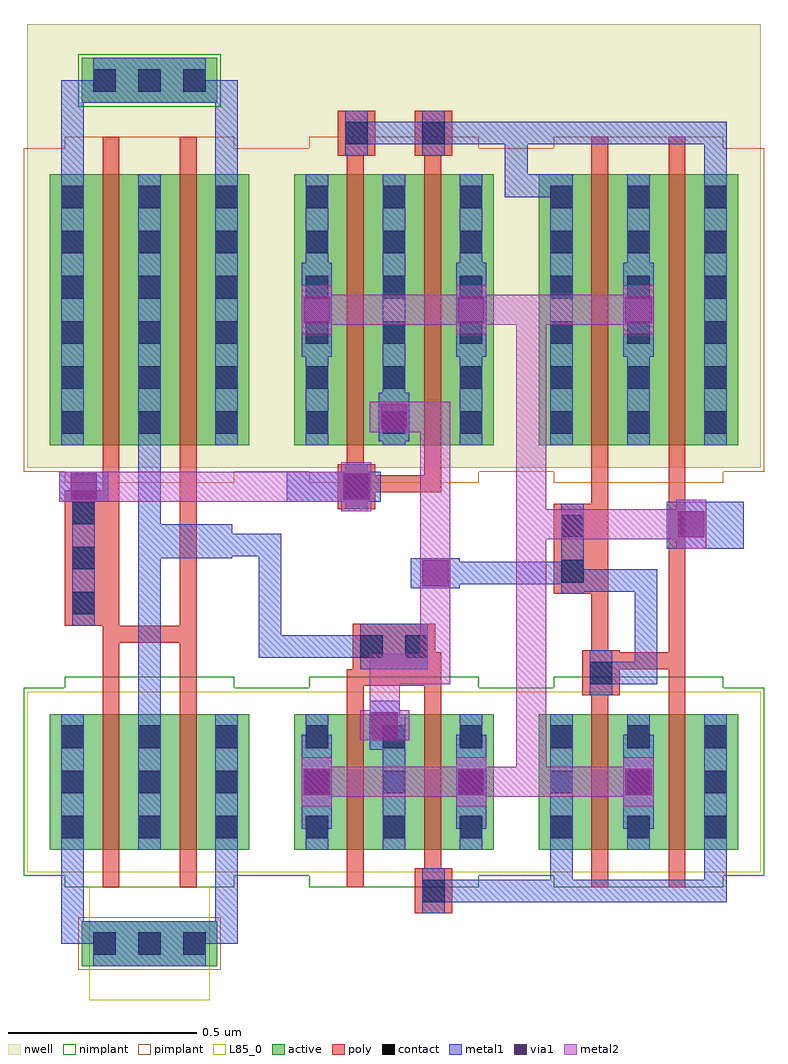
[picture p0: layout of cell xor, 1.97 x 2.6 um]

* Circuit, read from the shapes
.subckt xor VDD VSS
M1 inv_0/OUT inv_0/IN VSS VSS nfet w=0.36u l=0.045u m=2
M2 n1 inv_0/OUT n2 VSS nfet w=0.36u l=0.045u m=2
M3 n2 n1 inv_0/OUT VSS nfet w=0.36u l=0.045u m=2
M4 inv_0/OUT inv_0/IN VDD VDD pfet w=0.72u l=0.045u m=2
M5 n1 inv_0/IN n2 VDD pfet w=0.72u l=0.045u m=2
M6 n2 n1 inv_0/IN VDD pfet w=0.72u l=0.045u m=2
.ends

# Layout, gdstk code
import gdstk
lib = gdstk.Library(unit=1e-6, precision=5e-10)
def R(c, l, rs):  # rectangles x0, y0, x1, y1
    for r in rs: c.add(gdstk.rectangle(r[:2], r[2:], *l))
def A(c, l, x, y, w, h, nx, ny, dx, dy):  # array of equal rectangles
    R(c, l, [(x+i*dx, y+j*dy, x+i*dx+w, y+j*dy+h) for i in range(nx) for j in range(ny)])
active = (1, 0)
nwell = (2, 0)
poly = (3, 0)
nimplant = (4, 0)
pimplant = (5, 0)
contact = (6, 0)
metal1 = (7, 0)
via1 = (8, 0)
metal2 = (9, 0)
L85_0 = (85, 0)

pmos1v_cdns_764879329840 = lib.new_cell('pmos1v_CDNS_764879329840')
R(pmos1v_cdns_764879329840, active, [(-0.14,0,0,0.72), (0,0,0.045,0.72), (0.045,0,0.205,0.72), (0.205,0,0.25,0.72), (0.25,0,0.39,0.72)])
R(pmos1v_cdns_764879329840, nwell, [(-0.2,-0.06,0.45,0.78)])
R(pmos1v_cdns_764879329840, poly, [(0,-0.1,0.045,-0.05), (0.205,-0.1,0.25,-0.05), (0,-0.05,0.045,0), (0.205,-0.05,0.25,0), (0,0,0.045,0.72), (0.205,0,0.25,0.72), (0,0.72,0.045,0.77), (0.205,0.72,0.25,0.77), (0,0.77,0.045,0.82), (0.205,0.77,0.25,0.82)])
R(pmos1v_cdns_764879329840, pimplant, [(-0.1,-0.1,0.35,0.82), (-0.21,-0.07,0.46,0.79)])
A(pmos1v_cdns_764879329840, contact, -0.11, 0.03, 0.06, 0.06, 3, 6, 0.205, 0.12)
A(pmos1v_cdns_764879329840, metal1, -0.11, 0, 0.06, 0.72, 3, 1, 0.205, 0)

nmos1v_cdns_764879329841 = lib.new_cell('nmos1v_CDNS_764879329841')
R(nmos1v_cdns_764879329841, active, [(-0.14,0,0,0.36), (0,0,0.045,0.36), (0.045,0,0.205,0.36), (0.205,0,0.25,0.36), (0.25,0,0.39,0.36)])
R(nmos1v_cdns_764879329841, poly, [(0,-0.1,0.045,-0.05), (0.205,-0.1,0.25,-0.05), (0,-0.05,0.045,0), (0.205,-0.05,0.25,0), (0,0,0.045,0.36), (0.205,0,0.25,0.36), (0,0.36,0.045,0.41), (0.205,0.36,0.25,0.41), (0,0.41,0.045,0.46), (0.205,0.41,0.25,0.46)])
R(nmos1v_cdns_764879329841, nimplant, [(-0.1,-0.1,0.35,0.46), (-0.21,-0.07,0.46,0.43)])
A(nmos1v_cdns_764879329841, contact, -0.11, 0.03, 0.06, 0.06, 3, 3, 0.205, 0.12)
A(nmos1v_cdns_764879329841, metal1, -0.11, 0, 0.06, 0.36, 3, 1, 0.205, 0)
R(nmos1v_cdns_764879329841, L85_0, [(-0.2,-0.06,0.45,0.42)])

m1_nwell_cdns_7648793298 = lib.new_cell('M1_NWELL_CDNS_764879329848')
R(m1_nwell_cdns_7648793298, active, [(-0.18,-0.06,0.18,0.06)])
R(m1_nwell_cdns_7648793298, nwell, [(-0.21,-0.15,0.21,0.15)])
R(m1_nwell_cdns_7648793298, nimplant, [(-0.19,-0.07,0.19,0.07)])
A(m1_nwell_cdns_7648793298, contact, -0.15, -0.03, 0.06, 0.06, 3, 1, 0.12, 0)
R(m1_nwell_cdns_7648793298, metal1, [(-0.15,-0.06,0.15,0.06)])

m1_po_cdns_764879329849 = lib.new_cell('M1_PO_CDNS_764879329849')
R(m1_po_cdns_764879329849, poly, [(-0.05,-0.18,0.05,0.18)])
A(m1_po_cdns_764879329849, contact, -0.03, -0.15, 0.06, 0.06, 1, 3, 0, 0.12)
R(m1_po_cdns_764879329849, metal1, [(-0.03,-0.18,0.03,0.18)])

m1_psub_cdns_76487932984 = lib.new_cell('M1_PSUB_CDNS_7648793298410')
R(m1_psub_cdns_76487932984, active, [(-0.18,-0.06,0.18,0.06)])
R(m1_psub_cdns_76487932984, pimplant, [(-0.19,-0.07,0.19,0.07)])
A(m1_psub_cdns_76487932984, contact, -0.15, -0.03, 0.06, 0.06, 3, 1, 0.12, 0)
R(m1_psub_cdns_76487932984, metal1, [(-0.15,-0.06,0.15,0.06)])
R(m1_psub_cdns_76487932984, L85_0, [(-0.16,-0.15,0.16,0.15)])

inv = lib.new_cell('inv')
R(inv, nwell, [(-0.23,1.095,0.42,1.435)])
R(inv, metal1, [(0.065,-1.04,0.125,-0.98), (-0.11,-0.03,-0.05,0.03), (0.255,0.015,0.315,0.075), (0.04,1.225,0.1,1.285)])
inv.add(gdstk.FlexPath([(0.3,1.255),(0.3,1.035)], 0.06, ends=(0.03, 0), simple_path=True, layer=7, datatype=0))  # metal1
inv.add(gdstk.FlexPath([(-0.11,1.255),(-0.11,1.035)], 0.06, ends=(0.03, 0), simple_path=True, layer=7, datatype=0))  # metal1
inv.add(gdstk.FlexPath([(-0.11,1.255),(0.3,1.255)], 0.06, ends="extended", simple_path=True, layer=7, datatype=0))  # metal1
inv.add(gdstk.FlexPath([(0.095,0.045),(0.285,0.045)], 0.06, ends="extended", simple_path=True, layer=7, datatype=0))  # metal1
inv.add(gdstk.FlexPath([(0.095,-0.73),(0.095,0.045)], 0.06, ends="extended", simple_path=True, layer=7, datatype=0))  # metal1
inv.add(gdstk.FlexPath([(0.285,0.075),(0.095,0.075)], 0.06, ends="extended", simple_path=True, layer=7, datatype=0))  # metal1
inv.add(gdstk.FlexPath([(0.285,0.045),(0.285,0.075)], 0.06, ends="extended", simple_path=True, layer=7, datatype=0))  # metal1
inv.add(gdstk.FlexPath([(0.095,0.075),(0.095,1.005)], 0.06, ends="extended", simple_path=True, layer=7, datatype=0))  # metal1
inv.add(gdstk.FlexPath([(0.3,-0.98),(-0.11,-0.98)], 0.06, ends="extended", simple_path=True, layer=7, datatype=0))  # metal1
inv.add(gdstk.FlexPath([(0.3,-0.76),(0.3,-0.98)], 0.06, ends=(0, 0.03), simple_path=True, layer=7, datatype=0))  # metal1
inv.add(gdstk.FlexPath([(-0.11,-0.76),(-0.11,-0.98)], 0.06, ends=(0, 0.03), simple_path=True, layer=7, datatype=0))  # metal1
inv.add(gdstk.FlexPath([(-0.0075,-0.1875),(-0.0075,-0.3)], 0.045, ends=(0.0225, 0), simple_path=True, layer=3, datatype=0))  # poly
inv.add(gdstk.FlexPath([(-0.0075,0.215),(-0.0075,-0.1875)], 0.045, ends=(0, 0.0225), simple_path=True, layer=3, datatype=0))  # poly
inv.add(gdstk.FlexPath([(0.1975,0.215),(0.1975,-0.1875)], 0.045, ends=(0, 0.0225), simple_path=True, layer=3, datatype=0))  # poly
inv.add(gdstk.FlexPath([(-0.0075,-0.1875),(0.1975,-0.1875)], 0.045, ends="extended", simple_path=True, layer=3, datatype=0))  # poly
inv.add(gdstk.FlexPath([(0.1975,-0.1875),(0.1975,-0.3)], 0.045, ends=(0.0225, 0), simple_path=True, layer=3, datatype=0))  # poly
inv.add(gdstk.Reference(pmos1v_cdns_764879329840, (-0.03,0.315)))
inv.add(gdstk.Reference(nmos1v_cdns_764879329841, (-0.03,-0.76)))
inv.add(gdstk.Reference(m1_nwell_cdns_7648793298, (0.095,1.285)))
inv.add(gdstk.Reference(m1_po_cdns_764879329849, (-0.08,0.015)))
inv.add(gdstk.Reference(m1_psub_cdns_76487932984, (0.095,-1.01)))
inv.add(gdstk.Label('OUT', (0.285,0.045), layer=63, texttype=0))
inv.add(gdstk.Label('VSS', (0.095,-1.01), layer=63, texttype=0))
inv.add(gdstk.Label('VDD', (0.07,1.255), layer=63, texttype=0))
inv.add(gdstk.Label('IN', (-0.08,0), layer=63, texttype=0))

m2_m1_cdns_764879329840 = lib.new_cell('M2_M1_CDNS_764879329840')
R(m2_m1_cdns_764879329840, metal1, [(-0.065,-0.04,0.065,0.04)])
R(m2_m1_cdns_764879329840, via1, [(-0.035,-0.035,0.035,0.035)])
R(m2_m1_cdns_764879329840, metal2, [(-0.065,-0.04,0.065,0.04)])

m2_m1_cdns_764879329841 = lib.new_cell('M2_M1_CDNS_764879329841')
R(m2_m1_cdns_764879329841, metal1, [(-0.065,-0.04,0.065,0.04)])
R(m2_m1_cdns_764879329841, via1, [(-0.035,-0.035,0.035,0.035)])
R(m2_m1_cdns_764879329841, metal2, [(-0.04,-0.065,0.04,0.065)])

m2_m1_cdns_764879329842 = lib.new_cell('M2_M1_CDNS_764879329842')
R(m2_m1_cdns_764879329842, metal1, [(-0.04,-0.125,0.04,0.125)])
R(m2_m1_cdns_764879329842, via1, [(-0.035,-0.035,0.035,0.035)])
R(m2_m1_cdns_764879329842, metal2, [(-0.04,-0.065,0.04,0.065)])

m2_m1_cdns_764879329843 = lib.new_cell('M2_M1_CDNS_764879329843')
R(m2_m1_cdns_764879329843, metal1, [(-0.185,-0.04,0.065,0.04)])
R(m2_m1_cdns_764879329843, via1, [(-0.035,-0.035,0.035,0.035)])
R(m2_m1_cdns_764879329843, metal2, [(-0.04,-0.065,0.04,0.065)])

m1_po_cdns_764879329844 = lib.new_cell('M1_PO_CDNS_764879329844')
R(m1_po_cdns_764879329844, poly, [(-0.05,-0.06,0.05,0.06)])
R(m1_po_cdns_764879329844, contact, [(-0.03,-0.03,0.03,0.03)])
R(m1_po_cdns_764879329844, metal1, [(-0.03,-0.06,0.03,0.06)])

m2_m1_cdns_764879329845 = lib.new_cell('M2_M1_CDNS_764879329845')
R(m2_m1_cdns_764879329845, metal1, [(-0.04,-0.065,0.04,0.065)])
R(m2_m1_cdns_764879329845, via1, [(-0.035,-0.035,0.035,0.035)])
R(m2_m1_cdns_764879329845, metal2, [(-0.065,-0.04,0.065,0.04)])

m1_po_cdns_764879329846 = lib.new_cell('M1_PO_CDNS_764879329846')
R(m1_po_cdns_764879329846, poly, [(-0.05,-0.12,0.05,0.12)])
R(m1_po_cdns_764879329846, contact, [(-0.03,-0.09,0.03,-0.03), (-0.03,0.03,0.03,0.09)])
R(m1_po_cdns_764879329846, metal1, [(-0.03,-0.12,0.03,0.12)])

m1_po_cdns_764879329847 = lib.new_cell('M1_PO_CDNS_764879329847')
R(m1_po_cdns_764879329847, poly, [(-0.11,-0.06,0.11,0.06)])
R(m1_po_cdns_764879329847, contact, [(-0.09,-0.03,-0.03,0.03), (0.03,-0.03,0.09,0.03)])
R(m1_po_cdns_764879329847, metal1, [(-0.09,-0.06,0.09,0.06)])

xor = lib.new_cell('xor')
R(xor, nwell, [(-1.1,0.895,0.85,1.235)])
R(xor, metal1, [(-0.79,-1.21,-0.73,-1.15), (-0.155,-0.47,-0.095,-0.41), (0.32,-0.245,0.38,-0.185), (-0.98,-0.235,-0.92,-0.175), (0.6,-0.16,0.805,-0.035), (0.745,-0.125,0.805,-0.065), (-0.815,1.025,-0.755,1.085)])
xor.add(gdstk.FlexPath([(0.665,-0.095),(0.24,-0.095)], 0.08, ends="extended", simple_path=True, layer=9, datatype=0))  # metal2
xor.add(gdstk.FlexPath([(0.24,0.475),(0.24,-0.095)], 0.08, ends="extended", simple_path=True, layer=9, datatype=0))  # metal2
xor.add(gdstk.FlexPath([(0.24,-0.095),(0.24,-0.78)], 0.08, ends="extended", simple_path=True, layer=9, datatype=0))  # metal2
xor.add(gdstk.FlexPath([(0.525,-0.78),(0.24,-0.78)], 0.08, ends="extended", simple_path=True, layer=9, datatype=0))  # metal2
xor.add(gdstk.FlexPath([(0.24,-0.78),(0.08,-0.78)], 0.08, ends="extended", simple_path=True, layer=9, datatype=0))  # metal2
xor.add(gdstk.FlexPath([(-0.33,-0.78),(0.08,-0.78)], 0.08, ends="extended", simple_path=True, layer=9, datatype=0))  # metal2
xor.add(gdstk.FlexPath([(0.525,0.475),(0.24,0.475)], 0.08, ends="extended", simple_path=True, layer=9, datatype=0))  # metal2
xor.add(gdstk.FlexPath([(0.24,0.475),(0.08,0.475)], 0.08, ends="extended", simple_path=True, layer=9, datatype=0))  # metal2
xor.add(gdstk.FlexPath([(-0.33,0.475),(0.08,0.475)], 0.08, ends="extended", simple_path=True, layer=9, datatype=0))  # metal2
xor.add(gdstk.FlexPath([(-0.015,-0.48),(-0.015,-0.225)], 0.08, ends=(0.04, 0.065), simple_path=True, layer=9, datatype=0))  # metal2
xor.add(gdstk.FlexPath([(-0.15,-0.48),(-0.015,-0.48)], 0.08, ends="extended", simple_path=True, layer=9, datatype=0))  # metal2
xor.add(gdstk.FlexPath([(-0.015,0.19),(-0.015,-0.225)], 0.08, ends=(0.04, 0.065), simple_path=True, layer=9, datatype=0))  # metal2
xor.add(gdstk.FlexPath([(-0.125,0.19),(-0.015,0.19)], 0.08, ends=(0.065, 0.04), simple_path=True, layer=9, datatype=0))  # metal2
xor.add(gdstk.FlexPath([(-0.15,-0.63),(-0.15,-0.48)], 0.08, ends="extended", simple_path=True, layer=9, datatype=0))  # metal2
xor.add(gdstk.FlexPath([(-0.95,0.005),(-0.225,0.005)], 0.08, ends=(0.065, 0.04), simple_path=True, layer=9, datatype=0))  # metal2
xor.add(gdstk.FlexPath([(-0.2275,0.885),(-0.2275,0.945)], 0.045, ends=(0, 0.06), simple_path=True, layer=3, datatype=0))  # poly
xor.add(gdstk.FlexPath([(-0.2275,0.005),(-0.225,0.005)], 0.045, ends=(0, 0.05), simple_path=True, layer=3, datatype=0))  # poly
xor.add(gdstk.FlexPath([(-0.0225,0.885),(-0.0225,0.945)], 0.045, ends=(0, 0.06), simple_path=True, layer=3, datatype=0))  # poly
xor.add(gdstk.FlexPath([(-0.2275,0.945),(-0.225,0.945)], 0.045, ends="flush", simple_path=True, layer=3, datatype=0))  # poly
xor.add(gdstk.FlexPath([(-0.0225,-0.495),(-0.02,-0.495)], 0.045, ends="flush", simple_path=True, layer=3, datatype=0))  # poly
xor.add(gdstk.FlexPath([(-0.0225,-0.55),(-0.0225,-0.495)], 0.045, ends=(0.005, 0.06), simple_path=True, layer=3, datatype=0))  # poly
xor.add(gdstk.FlexPath([(-0.225,0.0125),(0,0.0125)], 0.045, ends=(0.025, 0), simple_path=True, layer=3, datatype=0))  # poly
xor.add(gdstk.FlexPath([(-0.02,-0.5025),(-0.25,-0.5025)], 0.045, ends=(0.02, 0), simple_path=True, layer=3, datatype=0))  # poly
xor.add(gdstk.FlexPath([(-0.0225,-1.0725),(-0.02,-1.0725)], 0.045, ends=(0.0225, 0), simple_path=True, layer=3, datatype=0))  # poly
xor.add(gdstk.FlexPath([(-0.0225,-1.01),(-0.0225,-1.0725)], 0.045, ends=(0, 0.0225), simple_path=True, layer=3, datatype=0))  # poly
xor.add(gdstk.FlexPath([(-0.2275,0.065),(-0.2275,0.005)], 0.045, ends=(0, 0.06), simple_path=True, layer=3, datatype=0))  # poly
xor.add(gdstk.FlexPath([(-0.2275,-0.5025),(-0.1275,-0.5025)], 0.045, ends="extended", simple_path=True, layer=3, datatype=0))  # poly
xor.add(gdstk.FlexPath([(-0.1275,-0.5025),(-0.1275,-0.42)], 0.045, ends=(0.0225, 0), simple_path=True, layer=3, datatype=0))  # poly
xor.add(gdstk.FlexPath([(0.4225,-0.55),(0.4225,-0.49)], 0.045, ends=(0, 0.06), simple_path=True, layer=3, datatype=0))  # poly
xor.add(gdstk.FlexPath([(-0.0225,0.945),(-0.02,0.945)], 0.045, ends="flush", simple_path=True, layer=3, datatype=0))  # poly
xor.add(gdstk.FlexPath([(0.4225,0.015),(0.4225,-0.4575)], 0.045, ends=(0, 0.0225), simple_path=True, layer=3, datatype=0))  # poly
xor.add(gdstk.FlexPath([(0.4225,-0.4575),(0.4225,-0.5)], 0.045, ends=(0.0225, 0), simple_path=True, layer=3, datatype=0))  # poly
xor.add(gdstk.FlexPath([(0.4225,-0.4575),(0.6275,-0.4575)], 0.045, ends="extended", simple_path=True, layer=3, datatype=0))  # poly
xor.add(gdstk.FlexPath([(-0.2275,-0.5275),(-0.2275,-0.5025)], 0.045, ends="extended", simple_path=True, layer=3, datatype=0))  # poly
xor.add(gdstk.FlexPath([(0.4225,-0.49),(0.425,-0.49)], 0.045, ends="flush", simple_path=True, layer=3, datatype=0))  # poly
xor.add(gdstk.FlexPath([(0.6275,0.015),(0.6275,-0.4575)], 0.045, ends=(0, 0.0225), simple_path=True, layer=3, datatype=0))  # poly
xor.add(gdstk.FlexPath([(0.6275,-0.4575),(0.6275,-0.5)], 0.045, ends=(0.0225, 0), simple_path=True, layer=3, datatype=0))  # poly
xor.add(gdstk.FlexPath([(0.775,-0.095),(0.665,-0.095)], 0.06, ends=(0.03, 0.065), simple_path=True, layer=7, datatype=0))  # metal1
xor.add(gdstk.FlexPath([(0.545,-0.49),(0.425,-0.49)], 0.06, ends="extended", simple_path=True, layer=7, datatype=0))  # metal1
xor.add(gdstk.FlexPath([(0.545,-0.245),(0.545,-0.49)], 0.06, ends="extended", simple_path=True, layer=7, datatype=0))  # metal1
xor.add(gdstk.FlexPath([(0.35,-0.245),(0.545,-0.245)], 0.06, ends="extended", simple_path=True, layer=7, datatype=0))  # metal1
xor.add(gdstk.FlexPath([(0.35,-0.185),(0.35,-0.245)], 0.06, ends=(0, 0.03), simple_path=True, layer=7, datatype=0))  # metal1
xor.add(gdstk.FlexPath([(0.35,-0.225),(0.35,-0.185)], 0.06, ends=(0.03, 0), simple_path=True, layer=7, datatype=0))  # metal1
xor.add(gdstk.FlexPath([(-0.015,-0.225),(0.35,-0.225)], 0.06, ends=(0.065, 0.03), simple_path=True, layer=7, datatype=0))  # metal1
xor.add(gdstk.FlexPath([(0.32,0.805),(0.2,0.805)], 0.06, ends="extended", simple_path=True, layer=7, datatype=0))  # metal1
xor.add(gdstk.FlexPath([(0.32,0.115),(0.32,0.805)], 0.06, ends=(0, 0.03), simple_path=True, layer=7, datatype=0))  # metal1
xor.add(gdstk.FlexPath([(0.2,0.805),(0.2,0.945)], 0.06, ends="extended", simple_path=True, layer=7, datatype=0))  # metal1
xor.add(gdstk.FlexPath([(0.73,0.945),(0.2,0.945)], 0.06, ends="extended", simple_path=True, layer=7, datatype=0))  # metal1
xor.add(gdstk.FlexPath([(0.73,0.145),(0.73,0.945)], 0.06, ends="extended", simple_path=True, layer=7, datatype=0))  # metal1
xor.add(gdstk.FlexPath([(0.2,0.945),(-0.02,0.945)], 0.06, ends="extended", simple_path=True, layer=7, datatype=0))  # metal1
xor.add(gdstk.FlexPath([(-0.225,0.945),(-0.02,0.945)], 0.06, ends="extended", simple_path=True, layer=7, datatype=0))  # metal1
xor.add(gdstk.FlexPath([(0.73,-1.07),(0.32,-1.07)], 0.06, ends="extended", simple_path=True, layer=7, datatype=0))  # metal1
xor.add(gdstk.FlexPath([(0.73,-0.63),(0.73,-1.07)], 0.06, ends="extended", simple_path=True, layer=7, datatype=0))  # metal1
xor.add(gdstk.FlexPath([(-0.95,-0.205),(-0.95,0.005)], 0.06, ends=(0.03, 0.04), simple_path=True, layer=7, datatype=0))  # metal1
xor.add(gdstk.FlexPath([(-0.455,-0.15),(-0.555,-0.15)], 0.06, ends=(0.03, 0), simple_path=True, layer=7, datatype=0))  # metal1
xor.add(gdstk.FlexPath([(0.32,-0.96),(0.32,-1.07)], 0.06, ends=(0, 0.03), simple_path=True, layer=7, datatype=0))  # metal1
xor.add(gdstk.FlexPath([(-0.455,-0.42),(-0.455,-0.15)], 0.06, ends="extended", simple_path=True, layer=7, datatype=0))  # metal1
xor.add(gdstk.FlexPath([(-0.1275,-0.42),(-0.455,-0.42)], 0.06, ends=(0, 0.03), simple_path=True, layer=7, datatype=0))  # metal1
xor.add(gdstk.FlexPath([(0.32,-1.07),(-0.02,-1.07)], 0.06, ends=(0.03, 0), simple_path=True, layer=7, datatype=0))  # metal1
xor.add(gdstk.Reference(inv, (-0.87,-0.2)))
xor.add(gdstk.Reference(pmos1v_cdns_764879329840, (-0.25,0.115)))
xor.add(gdstk.Reference(pmos1v_cdns_764879329840, (0.4,0.115)))
xor.add(gdstk.Reference(nmos1v_cdns_764879329841, (-0.25,-0.96)))
xor.add(gdstk.Reference(nmos1v_cdns_764879329841, (0.4,-0.96)))
xor.add(gdstk.Reference(m2_m1_cdns_764879329840, (-0.95,0.005)))
xor.add(gdstk.Reference(m2_m1_cdns_764879329841, (-0.015,-0.225)))
xor.add(gdstk.Reference(m2_m1_cdns_764879329841, (0.665,-0.095)))
xor.add(gdstk.Reference(m2_m1_cdns_764879329842, (0.525,-0.78)))
xor.add(gdstk.Reference(m2_m1_cdns_764879329842, (0.525,0.475)))
xor.add(gdstk.Reference(m2_m1_cdns_764879329842, (0.08,0.475)))
xor.add(gdstk.Reference(m2_m1_cdns_764879329842, (0.08,0.475)))
xor.add(gdstk.Reference(m2_m1_cdns_764879329842, (0.08,-0.78)))
xor.add(gdstk.Reference(m2_m1_cdns_764879329842, (0.08,-0.78)))
xor.add(gdstk.Reference(m2_m1_cdns_764879329842, (-0.33,0.475)))
xor.add(gdstk.Reference(m2_m1_cdns_764879329842, (-0.33,-0.78)))
xor.add(gdstk.Reference(m2_m1_cdns_764879329843, (-0.225,0.005)))
xor.add(gdstk.Reference(m1_po_cdns_764879329844, (-0.02,-1.07)))
xor.add(gdstk.Reference(m1_po_cdns_764879329844, (0.425,-0.49)))
xor.add(gdstk.Reference(m1_po_cdns_764879329844, (-0.225,0.945)))
xor.add(gdstk.Reference(m1_po_cdns_764879329844, (-0.02,0.945)))
xor.add(gdstk.Reference(m1_po_cdns_764879329844, (-0.225,0.005)))
xor.add(gdstk.Reference(m2_m1_cdns_764879329845, (-0.125,0.19)))
xor.add(gdstk.Reference(m2_m1_cdns_764879329845, (-0.15,-0.63)))
xor.add(gdstk.Reference(m1_po_cdns_764879329846, (0.35,-0.16)))
xor.add(gdstk.Reference(m1_po_cdns_764879329847, (-0.125,-0.42)))

lib.write_gds('xor.gds')
